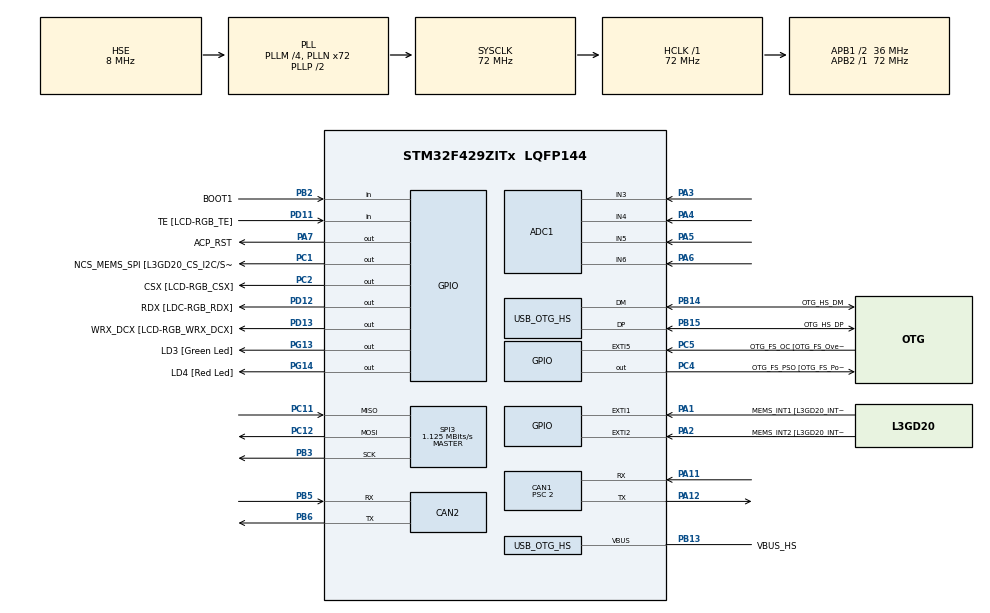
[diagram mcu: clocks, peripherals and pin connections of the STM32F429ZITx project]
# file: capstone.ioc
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ADC1.Channel-0\#ChannelRegularConversion=ADC_CHANNEL_5
ADC1.ClockPrescaler=ADC_CLOCK_SYNC_PCLK_DIV8
ADC1.ContinuousConvMode=ENABLE
ADC1.EOCSelection=ADC_EOC_SEQ_CONV
ADC1.NbrOfConversion=1
ADC1.NbrOfConversionFlag=1
ADC1.Rank-0\#ChannelRegularConversion=1
ADC1.SamplingTime-0\#ChannelRegularConversion=ADC_SAMPLETIME_3CYCLES
ADC1.ScanConvMode=ENABLE
ADC1.master=1
CAN1.BS1=CAN_BS1_13TQ
CAN1.BS2=CAN_BS2_4TQ
CAN1.CalculateTimeQuantum=55.55555555555556
CAN1.Mode=CAN_MODE_NORMAL
CAN1.Prescaler=2
CAN2.BS1=CAN_BS1_13TQ
CAN2.BS2=CAN_BS2_4TQ
CAN2.CalculateTimeQuantum=444.44444444444446
Mcu.Family=STM32F4
Mcu.Name=STM32F429ZITx
Mcu.Package=LQFP144
NVIC.ADC_IRQn=true\:0\:0\:false\:false\:true\:true\:true
NVIC.CAN1_RX0_IRQn=true\:0\:0\:false\:false\:true\:true\:true
NVIC.CAN1_RX1_IRQn=true\:0\:0\:false\:false\:true\:true\:true
NVIC.CAN1_TX_IRQn=true\:0\:0\:false\:false\:true\:true\:true
NVIC.OTG_HS_IRQn=true\:0\:0\:false\:false\:true\:true\:true
NVIC.PriorityGroup=NVIC_PRIORITYGROUP_4
NVIC.TIM6_DAC_IRQn=true\:0\:0\:false\:false\:true\:false\:true
NVIC.TimeBase=TIM6_DAC_IRQn
NVIC.TimeBaseIP=TIM6
PA1.GPIO_Label=MEMS_INT1 [L3GD20_INT1]
PA1.GPIO_ModeDefaultEXTI=GPIO_MODE_EVT_RISING
PA1.GPIO_PuPd=GPIO_NOPULL
PA1.Signal=GPXTI1
PA10.GPIO_Label=STLINK_TX [STM32F103CBT6_PA2]
PA10.Signal=USART1_RX
PA11.Mode=Master
PA11.Signal=CAN1_RX
PA12.Mode=Master
PA12.Signal=CAN1_TX
PA13.GPIO_Label=SWDIO
PA13.Mode=Serial_Wire
PA13.Signal=SYS_JTMS-SWDIO
PA14.GPIO_Label=SWCLK
PA14.Mode=Serial_Wire
PA14.Signal=SYS_JTCK-SWCLK
PA2.GPIO_Label=MEMS_INT2 [L3GD20_INT2]
PA2.GPIO_ModeDefaultEXTI=GPIO_MODE_EVT_RISING
PA2.GPIO_PuPd=GPIO_NOPULL
PA2.Signal=GPXTI2
PA3.Signal=ADCx_IN3
PA4.Signal=ADCx_IN4
PA5.Signal=ADCx_IN5
PA6.Signal=ADCx_IN6
PA7.GPIO_Label=ACP_RST
PA7.GPIO_Mode=GPIO_MODE_OUTPUT_PP
PA7.GPIO_PuPd=GPIO_NOPULL
PA7.GPIO_Speed=GPIO_SPEED_FREQ_LOW
PA7.Signal=GPIO_Output
PA8.Signal=RCC_MCO_1
PA9.GPIO_Label=STLINK_RX [STM32F103CBT6_PA3]
PA9.Signal=USART1_TX
PB0.GPIO_Label=R3
PB0.GPIO_Mode=GPIO_MODE_AF_PP
PB0.GPIO_PuPd=GPIO_NOPULL
PB0.GPIO_Speed=GPIO_SPEED_FREQ_LOW
PB0.Signal=LTDC_R3
PB1.GPIO_Label=R6
PB1.GPIO_Mode=GPIO_MODE_AF_PP
PB1.GPIO_PuPd=GPIO_NOPULL
PB1.GPIO_Speed=GPIO_SPEED_FREQ_LOW
PB1.Signal=LTDC_R6
PB10.GPIO_Label=G4
PB10.GPIO_Mode=GPIO_MODE_AF_PP
PB10.GPIO_PuPd=GPIO_NOPULL
PB10.GPIO_Speed=GPIO_SPEED_FREQ_LOW
PB10.Signal=LTDC_G4
PB11.GPIO_Label=G5
PB11.GPIO_Mode=GPIO_MODE_AF_PP
PB11.GPIO_PuPd=GPIO_NOPULL
PB11.GPIO_Speed=GPIO_SPEED_FREQ_LOW
PB11.Signal=LTDC_G5
PB12.GPIO_Label=OTG_HS_ID
PB12.GPIO_Mode=GPIO_MODE_AF_PP
PB12.GPIO_PuPd=GPIO_NOPULL
PB12.GPIO_Speed=GPIO_SPEED_FREQ_LOW
PB12.Signal=USB_OTG_HS_ID
PB13.GPIO_Label=VBUS_HS
PB13.GPIO_Mode=GPIO_MODE_INPUT
PB13.GPIO_PuPd=GPIO_NOPULL
PB13.Mode=Activate_VBUS_FS
PB13.Signal=USB_OTG_HS_VBUS
PB14.GPIO_Label=OTG_HS_DM
PB14.GPIO_Mode=GPIO_MODE_AF_PP
PB14.GPIO_PuPd=GPIO_NOPULL
PB14.GPIO_Speed=GPIO_SPEED_FREQ_LOW
PB14.Mode=Host_FS
PB14.Signal=USB_OTG_HS_DM
PB15.GPIO_Label=OTG_HS_DP
PB15.GPIO_Mode=GPIO_MODE_AF_PP
PB15.GPIO_PuPd=GPIO_NOPULL
PB15.GPIO_Speed=GPIO_SPEED_FREQ_LOW
PB15.Mode=Host_FS
PB15.Signal=USB_OTG_HS_DP
PB2/BOOT1.GPIO_Label=BOOT1
PB2/BOOT1.GPIO_Mode=GPIO_MODE_INPUT
PB2/BOOT1.GPIO_PuPd=GPIO_NOPULL
PB2/BOOT1.Signal=GPIO_Input
PB3.Mode=Full_Duplex_Master
PB3.Signal=SPI3_SCK
PB5.Mode=Slave
PB5.Signal=CAN2_RX
PB6.Mode=Slave
PB6.Signal=CAN2_TX
PB8.GPIO_Label=B6
PB8.GPIO_Mode=GPIO_MODE_AF_PP
PB8.GPIO_PuPd=GPIO_NOPULL
PB8.GPIO_Speed=GPIO_SPEED_FREQ_LOW
PB8.Signal=LTDC_B6
PB9.GPIO_Label=B7
PB9.GPIO_Mode=GPIO_MODE_AF_PP
PB9.GPIO_PuPd=GPIO_NOPULL
PB9.GPIO_Speed=GPIO_SPEED_FREQ_LOW
PB9.Signal=LTDC_B7
PC0.GPIO_Label=SDNWE
PC0.GPIO_Mode=GPIO_MODE_AF_PP
PC0.GPIO_PuPd=GPIO_NOPULL
PC0.GPIO_Speed=GPIO_SPEED_FREQ_VERY_HIGH
PC0.Signal=FMC_SDNWE
PC1.GPIO_Label=NCS_MEMS_SPI [L3GD20_CS_I2C/SPI]
PC1.GPIO_Mode=GPIO_MODE_OUTPUT_PP
PC1.GPIO_ModeDefaultOutputPP=GPIO_MODE_OUTPUT_PP
PC1.GPIO_PuPd=GPIO_NOPULL
PC1.GPIO_Speed=GPIO_SPEED_FREQ_LOW
PC1.PinState=GPIO_PIN_SET
PC1.Signal=GPIO_Output
PC10.GPIO_Label=R2
PC10.GPIO_Mode=GPIO_MODE_AF_PP
PC10.GPIO_PuPd=GPIO_NOPULL
PC10.GPIO_Speed=GPIO_SPEED_FREQ_LOW
PC10.Signal=LTDC_R2
PC11.Mode=Full_Duplex_Master
PC11.Signal=SPI3_MISO
PC12.Mode=Full_Duplex_Master
PC12.Signal=SPI3_MOSI
PC14/OSC32_IN.GPIO_Label=PC14-OSC32_IN
PC14/OSC32_IN.Signal=RCC_OSC32_IN
PC15/OSC32_OUT.GPIO_Label=PC15-OSC32_OUT
PC15/OSC32_OUT.Signal=RCC_OSC32_OUT
PC2.GPIO_Label=CSX [LCD-RGB_CSX]
PC2.GPIO_Mode=GPIO_MODE_OUTPUT_PP
PC2.GPIO_PuPd=GPIO_NOPULL
PC2.GPIO_Speed=GPIO_SPEED_FREQ_LOW
PC2.Signal=GPIO_Output
PC4.GPIO_Label=OTG_FS_PSO [OTG_FS_PowerSwitchOn]
PC4.GPIO_Mode=GPIO_MODE_OUTPUT_PP
PC4.GPIO_PuPd=GPIO_NOPULL
PC4.GPIO_Speed=GPIO_SPEED_FREQ_LOW
PC4.Signal=GPIO_Output
PC5.GPIO_Label=OTG_FS_OC [OTG_FS_OverCurrent]
PC5.GPIO_ModeDefaultEXTI=GPIO_MODE_EVT_RISING
PC5.Signal=GPXTI5
PC6.GPIO_Label=HSYNC
PC6.GPIO_Mode=GPIO_MODE_AF_PP
PC6.GPIO_PuPd=GPIO_NOPULL
PC6.GPIO_Speed=GPIO_SPEED_FREQ_LOW
PC6.Signal=LTDC_HSYNC
PC7.GPIO_Label=G6
PC7.GPIO_Mode=GPIO_MODE_AF_PP
PC7.GPIO_PuPd=GPIO_NOPULL
PC7.GPIO_Speed=GPIO_SPEED_FREQ_LOW
PC7.Signal=LTDC_G6
PD0.GPIO_Label=D2
PD0.GPIO_Mode=GPIO_MODE_AF_PP
PD0.GPIO_PuPd=GPIO_NOPULL
PD0.GPIO_Speed=GPIO_SPEED_FREQ_VERY_HIGH
PD0.Signal=FMC_D2_DA2
PD1.GPIO_Label=D3
PD1.GPIO_Mode=GPIO_MODE_AF_PP
PD1.GPIO_PuPd=GPIO_NOPULL
PD1.GPIO_Speed=GPIO_SPEED_FREQ_VERY_HIGH
PD1.Signal=FMC_D3_DA3
PD10.GPIO_Label=D15
PD10.GPIO_Mode=GPIO_MODE_AF_PP
PD10.GPIO_PuPd=GPIO_NOPULL
PD10.GPIO_Speed=GPIO_SPEED_FREQ_VERY_HIGH
PD10.Signal=FMC_D15_DA15
PD11.GPIO_Label=TE [LCD-RGB_TE]
PD11.GPIO_Mode=GPIO_MODE_INPUT
PD11.GPIO_PuPd=GPIO_NOPULL
PD11.Signal=GPIO_Input
PD12.GPIO_Label=RDX [LDC-RGB_RDX]
PD12.GPIO_Mode=GPIO_MODE_OUTPUT_PP
PD12.GPIO_PuPd=GPIO_NOPULL
PD12.GPIO_Speed=GPIO_SPEED_FREQ_LOW
PD12.Signal=GPIO_Output
PD13.GPIO_Label=WRX_DCX [LCD-RGB_WRX_DCX]
PD13.GPIO_Mode=GPIO_MODE_OUTPUT_PP
PD13.GPIO_PuPd=GPIO_NOPULL
PD13.GPIO_Speed=GPIO_SPEED_FREQ_LOW
PD13.Signal=GPIO_Output
PD14.GPIO_Label=D0
PD14.GPIO_Mode=GPIO_MODE_AF_PP
PD14.GPIO_PuPd=GPIO_NOPULL
PD14.GPIO_Speed=GPIO_SPEED_FREQ_VERY_HIGH
PD14.Signal=FMC_D0_DA0
PD15.GPIO_Label=D1
PD15.GPIO_Mode=GPIO_MODE_AF_PP
PD15.GPIO_PuPd=GPIO_NOPULL
PD15.GPIO_Speed=GPIO_SPEED_FREQ_VERY_HIGH
PD15.Signal=FMC_D1_DA1
PD3.GPIO_Label=G7
PD3.GPIO_Mode=GPIO_MODE_AF_PP
PD3.GPIO_PuPd=GPIO_NOPULL
PD3.GPIO_Speed=GPIO_SPEED_FREQ_LOW
PD3.Signal=LTDC_G7
PD6.GPIO_Label=B2
PD6.GPIO_Mode=GPIO_MODE_AF_PP
PD6.GPIO_PuPd=GPIO_NOPULL
PD6.GPIO_Speed=GPIO_SPEED_FREQ_LOW
PD6.Signal=LTDC_B2
PD8.GPIO_Label=D13
PD8.GPIO_Mode=GPIO_MODE_AF_PP
PD8.GPIO_PuPd=GPIO_NOPULL
PD8.GPIO_Speed=GPIO_SPEED_FREQ_VERY_HIGH
PD8.Signal=FMC_D13_DA13
PD9.GPIO_Label=D14
PD9.GPIO_Mode=GPIO_MODE_AF_PP
PD9.GPIO_PuPd=GPIO_NOPULL
PD9.GPIO_Speed=GPIO_SPEED_FREQ_VERY_HIGH
PD9.Signal=FMC_D14_DA14
PE0.GPIO_Label=NBL0 [SDRAM_LDQM]
PE0.GPIO_Mode=GPIO_MODE_AF_PP
PE0.GPIO_PuPd=GPIO_NOPULL
PE0.GPIO_Speed=GPIO_SPEED_FREQ_VERY_HIGH
PE0.Signal=FMC_NBL0
PE1.GPIO_Label=NBL1 [SDRAM_UDQM]
PE1.GPIO_Mode=GPIO_MODE_AF_PP
PE1.GPIO_PuPd=GPIO_NOPULL
PE1.GPIO_Speed=GPIO_SPEED_FREQ_VERY_HIGH
PE1.Signal=FMC_NBL1
PE10.GPIO_Label=D7
PE10.GPIO_Mode=GPIO_MODE_AF_PP
PE10.GPIO_PuPd=GPIO_NOPULL
PE10.GPIO_Speed=GPIO_SPEED_FREQ_VERY_HIGH
PE10.Signal=FMC_D7_DA7
PE11.GPIO_Label=D8
PE11.GPIO_Mode=GPIO_MODE_AF_PP
PE11.GPIO_PuPd=GPIO_NOPULL
PE11.GPIO_Speed=GPIO_SPEED_FREQ_VERY_HIGH
PE11.Signal=FMC_D8_DA8
PE12.GPIO_Label=D9
PE12.GPIO_Mode=GPIO_MODE_AF_PP
PE12.GPIO_PuPd=GPIO_NOPULL
PE12.GPIO_Speed=GPIO_SPEED_FREQ_VERY_HIGH
PE12.Signal=FMC_D9_DA9
PE13.GPIO_Label=D10
PE13.GPIO_Mode=GPIO_MODE_AF_PP
PE13.GPIO_PuPd=GPIO_NOPULL
PE13.GPIO_Speed=GPIO_SPEED_FREQ_VERY_HIGH
PE13.Signal=FMC_D10_DA10
PE14.GPIO_Label=D11
PE14.GPIO_Mode=GPIO_MODE_AF_PP
PE14.GPIO_PuPd=GPIO_NOPULL
PE14.GPIO_Speed=GPIO_SPEED_FREQ_VERY_HIGH
PE14.Signal=FMC_D11_DA11
PE15.GPIO_Label=D12
PE15.GPIO_Mode=GPIO_MODE_AF_PP
PE15.GPIO_PuPd=GPIO_NOPULL
PE15.GPIO_Speed=GPIO_SPEED_FREQ_VERY_HIGH
PE15.Signal=FMC_D12_DA12
PE7.GPIO_Label=D4
PE7.GPIO_Mode=GPIO_MODE_AF_PP
PE7.GPIO_PuPd=GPIO_NOPULL
PE7.GPIO_Speed=GPIO_SPEED_FREQ_VERY_HIGH
PE7.Signal=FMC_D4_DA4
PE8.GPIO_Label=D5
PE8.GPIO_Mode=GPIO_MODE_AF_PP
PE8.GPIO_PuPd=GPIO_NOPULL
PE8.GPIO_Speed=GPIO_SPEED_FREQ_VERY_HIGH
PE8.Signal=FMC_D5_DA5
PE9.GPIO_Label=D6
PE9.GPIO_Mode=GPIO_MODE_AF_PP
PE9.GPIO_PuPd=GPIO_NOPULL
PE9.GPIO_Speed=GPIO_SPEED_FREQ_VERY_HIGH
PE9.Signal=FMC_D6_DA6
PF0.GPIO_Label=A0
PF0.GPIO_Mode=GPIO_MODE_AF_PP
PF0.GPIO_PuPd=GPIO_NOPULL
PF0.GPIO_Speed=GPIO_SPEED_FREQ_VERY_HIGH
PF0.Signal=FMC_A0
PF1.GPIO_Label=A1
PF1.GPIO_Mode=GPIO_MODE_AF_PP
PF1.GPIO_PuPd=GPIO_NOPULL
PF1.GPIO_Speed=GPIO_SPEED_FREQ_VERY_HIGH
PF1.Signal=FMC_A1
PF10.GPIO_Label=ENABLE [LCD-RGB_ENABLE]
PF10.GPIO_Mode=GPIO_MODE_AF_PP
PF10.GPIO_PuPd=GPIO_NOPULL
PF10.GPIO_Speed=GPIO_SPEED_FREQ_LOW
PF10.Signal=LTDC_DE
PF11.GPIO_Label=SDNRAS
PF11.GPIO_Mode=GPIO_MODE_AF_PP
PF11.GPIO_PuPd=GPIO_NOPULL
PF11.GPIO_Speed=GPIO_SPEED_FREQ_VERY_HIGH
PF11.Signal=FMC_SDNRAS
PF12.GPIO_Label=A6
PF12.GPIO_Mode=GPIO_MODE_AF_PP
PF12.GPIO_PuPd=GPIO_NOPULL
PF12.GPIO_Speed=GPIO_SPEED_FREQ_VERY_HIGH
PF12.Signal=FMC_A6
PF13.GPIO_Label=A7
PF13.GPIO_Mode=GPIO_MODE_AF_PP
PF13.GPIO_PuPd=GPIO_NOPULL
PF13.GPIO_Speed=GPIO_SPEED_FREQ_VERY_HIGH
PF13.Signal=FMC_A7
PF14.GPIO_Label=A8
PF14.GPIO_Mode=GPIO_MODE_AF_PP
PF14.GPIO_PuPd=GPIO_NOPULL
PF14.GPIO_Speed=GPIO_SPEED_FREQ_VERY_HIGH
PF14.Signal=FMC_A8
PF15.GPIO_Label=A9
PF15.GPIO_Mode=GPIO_MODE_AF_PP
PF15.GPIO_PuPd=GPIO_NOPULL
PF15.GPIO_Speed=GPIO_SPEED_FREQ_VERY_HIGH
PF15.Signal=FMC_A9
PF2.GPIO_Label=A2
PF2.GPIO_Mode=GPIO_MODE_AF_PP
PF2.GPIO_PuPd=GPIO_NOPULL
PF2.GPIO_Speed=GPIO_SPEED_FREQ_VERY_HIGH
PF2.Signal=FMC_A2
PF3.GPIO_Label=A3
PF3.GPIO_Mode=GPIO_MODE_AF_PP
PF3.GPIO_PuPd=GPIO_NOPULL
PF3.GPIO_Speed=GPIO_SPEED_FREQ_VERY_HIGH
PF3.Signal=FMC_A3
PF4.GPIO_Label=A4
PF4.GPIO_Mode=GPIO_MODE_AF_PP
PF4.GPIO_PuPd=GPIO_NOPULL
PF4.GPIO_Speed=GPIO_SPEED_FREQ_VERY_HIGH
PF4.Signal=FMC_A4
PF5.GPIO_Label=A5
PF5.GPIO_Mode=GPIO_MODE_AF_PP
PF5.GPIO_PuPd=GPIO_NOPULL
PF5.GPIO_Speed=GPIO_SPEED_FREQ_VERY_HIGH
PF5.Signal=FMC_A5
PF7.GPIO_Label=SPI5_SCK [L3GD20_SCL/SPC]
PF7.GPIO_Mode=GPIO_MODE_AF_PP
PF7.GPIO_PuPd=GPIO_NOPULL
PF7.GPIO_Speed=GPIO_SPEED_FREQ_LOW
PF7.Signal=SPI5_SCK
PF8.GPIO_Label=SPI5_MISO [L3GD20_SDO]
PF8.GPIO_Mode=GPIO_MODE_AF_PP
PF8.GPIO_PuPd=GPIO_NOPULL
PF8.GPIO_Speed=GPIO_SPEED_FREQ_LOW
PF8.Signal=SPI5_MISO
PF9.GPIO_Label=SPI5_MOSI [L3GD20_SDA/SDI/SDO]
PF9.GPIO_Mode=GPIO_MODE_AF_PP
PF9.GPIO_PuPd=GPIO_NOPULL
PF9.GPIO_Speed=GPIO_SPEED_FREQ_LOW
PF9.Signal=SPI5_MOSI
PG0.GPIO_Label=A10
PG0.GPIO_Mode=GPIO_MODE_AF_PP
PG0.GPIO_PuPd=GPIO_NOPULL
PG0.GPIO_Speed=GPIO_SPEED_FREQ_VERY_HIGH
PG0.Signal=FMC_A10
PG1.GPIO_Label=A11
PG1.GPIO_Mode=GPIO_MODE_AF_PP
PG1.GPIO_PuPd=GPIO_NOPULL
PG1.GPIO_Speed=GPIO_SPEED_FREQ_VERY_HIGH
PG1.Signal=FMC_A11
PG10.GPIO_Label=G3
PG10.GPIO_Mode=GPIO_MODE_AF_PP
PG10.GPIO_PuPd=GPIO_NOPULL
PG10.GPIO_Speed=GPIO_SPEED_FREQ_LOW
PG10.Signal=LTDC_G3
PG11.GPIO_Label=B3
PG11.GPIO_Mode=GPIO_MODE_AF_PP
PG11.GPIO_PuPd=GPIO_NOPULL
PG11.GPIO_Speed=GPIO_SPEED_FREQ_LOW
PG11.Signal=LTDC_B3
PG12.GPIO_Label=B4
PG12.GPIO_Mode=GPIO_MODE_AF_PP
PG12.GPIO_PuPd=GPIO_NOPULL
PG12.GPIO_Speed=GPIO_SPEED_FREQ_LOW
PG12.Signal=LTDC_B4
PG13.GPIO_Label=LD3 [Green Led]
PG13.GPIO_Mode=GPIO_MODE_OUTPUT_PP
PG13.GPIO_PuPd=GPIO_NOPULL
PG13.GPIO_Speed=GPIO_SPEED_FREQ_LOW
PG13.Signal=GPIO_Output
PG14.GPIO_Label=LD4 [Red Led]
PG14.GPIO_Mode=GPIO_MODE_OUTPUT_PP
PG14.GPIO_PuPd=GPIO_NOPULL
PG14.GPIO_Speed=GPIO_SPEED_FREQ_LOW
PG14.Signal=GPIO_Output
PG15.GPIO_Label=SDNCAS
PG15.GPIO_Mode=GPIO_MODE_AF_PP
PG15.GPIO_PuPd=GPIO_NOPULL
PG15.GPIO_Speed=GPIO_SPEED_FREQ_VERY_HIGH
PG15.Signal=FMC_SDNCAS
PG4.GPIO_Label=BA0
PG4.GPIO_Mode=GPIO_MODE_AF_PP
PG4.GPIO_PuPd=GPIO_NOPULL
PG4.GPIO_Speed=GPIO_SPEED_FREQ_VERY_HIGH
PG4.Signal=FMC_A14_BA0
PG5.GPIO_Label=BA1
PG5.GPIO_Mode=GPIO_MODE_AF_PP
PG5.GPIO_PuPd=GPIO_NOPULL
PG5.GPIO_Speed=GPIO_SPEED_FREQ_VERY_HIGH
PG5.Signal=FMC_A15_BA1
PG6.GPIO_Label=R7
PG6.GPIO_Mode=GPIO_MODE_AF_PP
PG6.GPIO_PuPd=GPIO_NOPULL
PG6.GPIO_Speed=GPIO_SPEED_FREQ_LOW
PG6.Signal=LTDC_R7
PG7.GPIO_Label=DOTCLK [LCT-RGB_DOTCLK]
PG7.GPIO_Mode=GPIO_MODE_AF_PP
PG7.GPIO_PuPd=GPIO_NOPULL
PG7.GPIO_Speed=GPIO_SPEED_FREQ_LOW
PG7.Signal=LTDC_CLK
PG8.GPIO_Label=SDCLK
PG8.GPIO_Mode=GPIO_MODE_AF_PP
PG8.GPIO_PuPd=GPIO_NOPULL
PG8.GPIO_Speed=GPIO_SPEED_FREQ_VERY_HIGH
PG8.Signal=FMC_SDCLK
PH0/OSC_IN.GPIO_Label=PH0-OSC_IN
PH0/OSC_IN.Mode=HSE-External-Oscillator
PH0/OSC_IN.Signal=RCC_OSC_IN
PH1/OSC_OUT.GPIO_Label=PH1-OSC_OUT
PH1/OSC_OUT.Mode=HSE-External-Oscillator
PH1/OSC_OUT.Signal=RCC_OSC_OUT
ProjectManager.HeapSize=0x200
ProjectManager.StackSize=0x400
ProjectManager.TargetToolchain=STM32CubeIDE
RCC.48MHZClocksFreq_Value=48000000
RCC.AHBFreq_Value=72000000
RCC.APB1CLKDivider=RCC_HCLK_DIV2
RCC.APB1Freq_Value=36000000
RCC.APB1TimFreq_Value=72000000
RCC.APB2Freq_Value=72000000
RCC.APB2TimFreq_Value=72000000
RCC.CortexFreq_Value=72000000
RCC.HCLKFreq_Value=72000000
RCC.HSE_VALUE=8000000
RCC.HSI_VALUE=16000000
RCC.LSE_VALUE=32768
RCC.PLLM=4
RCC.PLLN=72
RCC.PLLQ=3
RCC.PLLSAIN=50
RCC.SYSCLKFreq_VALUE=72000000
RCC.SYSCLKSource=RCC_SYSCLKSOURCE_PLLCLK
RCC.VCOOutputFreq_Value=144000000
SH.ADCx_IN3.0=ADC1_IN3,IN3
SH.ADCx_IN4.0=ADC1_IN4,IN4
SH.ADCx_IN5.0=ADC1_IN5,IN5
SH.ADCx_IN6.0=ADC1_IN6,IN6
SH.FMC_A0.0=FMC_A0
SH.FMC_A1.0=FMC_A1
SH.FMC_A10.0=FMC_A10
SH.FMC_A11.0=FMC_A11
SH.FMC_A14_BA0.0=FMC_BA0
SH.FMC_A15_BA1.0=FMC_BA1
SH.FMC_A2.0=FMC_A2
SH.FMC_A3.0=FMC_A3
SH.FMC_A4.0=FMC_A4
SH.FMC_A5.0=FMC_A5
SH.FMC_A6.0=FMC_A6
SH.FMC_A7.0=FMC_A7
SH.FMC_A8.0=FMC_A8
SH.FMC_A9.0=FMC_A9
SH.FMC_D0_DA0.0=FMC_D0
SH.FMC_D10_DA10.0=FMC_D10
SH.FMC_D11_DA11.0=FMC_D11
SH.FMC_D12_DA12.0=FMC_D12
SH.FMC_D13_DA13.0=FMC_D13
SH.FMC_D14_DA14.0=FMC_D14
SH.FMC_D15_DA15.0=FMC_D15
SH.FMC_D1_DA1.0=FMC_D1
SH.FMC_D2_DA2.0=FMC_D2
SH.FMC_D3_DA3.0=FMC_D3
SH.FMC_D4_DA4.0=FMC_D4
SH.FMC_D5_DA5.0=FMC_D5
SH.FMC_D6_DA6.0=FMC_D6
SH.FMC_D7_DA7.0=FMC_D7
SH.FMC_D8_DA8.0=FMC_D8
SH.FMC_D9_DA9.0=FMC_D9
SH.FMC_NBL0.0=FMC_NBL0
SH.FMC_NBL1.0=FMC_NBL1
SH.FMC_SDCLK.0=FMC_SDCLK
SH.FMC_SDNCAS.0=FMC_SDNCAS
SH.FMC_SDNRAS.0=FMC_SDNRAS
SH.FMC_SDNWE.0=FMC_SDNWE
SPI3.BaudRatePrescaler=SPI_BAUDRATEPRESCALER_32
SPI3.CLKPhase=SPI_PHASE_1EDGE
SPI3.CalculateBaudRate=1.125 MBits/s
SPI3.DataSize=SPI_DATASIZE_16BIT
SPI3.Direction=SPI_DIRECTION_2LINES
SPI3.Mode=SPI_MODE_MASTER
SPI3.VirtualType=VM_MASTER
USB_HOST.BSP.number=1
USB_HOST.USBH_HandleTypeDef-CDC_HS=hUsbHostHS
USB_HOST.VirtualModeHS=Cdc
USB_HOST0.BSP.STBoard=false
USB_HOST0.BSP.api=UnknownBspDriver
USB_HOST0.BSP.i2caddr=0
USB_HOST0.BSP.i2creg=0
USB_HOST0.BSP.instance=PC4
USB_HOST0.BSP.ip=GPIO
USB_HOST0.BSP.mode=Output
USB_HOST0.BSP.name=Drive_VBUS_HS
USB_HOST0.BSP.solution=PC4
USB_OTG_HS.VirtualMode-Host_FS=Host_FS
VP_SYS_VS_tim6.Mode=TIM6
VP_TIM1_VS_ClockSourceINT.Mode=Internal
VP_USB_HOST_VS_USB_HOST_CDC_HS.Mode=CDC_HS
board=STM32F429I-DISC1

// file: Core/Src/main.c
/* USER CODE BEGIN Header */
/**
  ******************************************************************************
  * @file           : main.c
  * @brief          : Main program body
  ******************************************************************************
  * @attention
  *
  * <h2><center>&copy; Copyright (c) 2020 STMicroelectronics.
  * All rights reserved.</center></h2>
  *
  * This software component is licensed by ST under Ultimate Liberty license
  * SLA0044, the "License"; You may not use this file except in compliance with
  * the License. You may obtain a copy of the License at:
  *                             www.st.com/SLA0044
  *
  ******************************************************************************
  */
/* USER CODE END Header */

#include "main.h"
#include "usb_host.h"

/* USER CODE BEGIN Includes */
#include <stdio.h>
#include <stdlib.h>
#include <string.h>
#include <math.h>
/* USER CODE END Includes */

/* USER CODE BEGIN PD */
#define ADC_RESOLUTION 4096
/* USER CODE END PD */

ADC_HandleTypeDef hadc1;

CAN_HandleTypeDef hcan1;
CAN_HandleTypeDef hcan2;

SPI_HandleTypeDef hspi3;

TIM_HandleTypeDef htim1;

/* USER CODE BEGIN PV */
uint8_t aTxBuffer[2];
/* USER CODE END PV */

void SystemClock_Config(void);
static void MX_GPIO_Init(void);
static void MX_TIM1_Init(void);
static void MX_ADC1_Init(void);
static void MX_CAN1_Init(void);
static void MX_CAN2_Init(void);
static void MX_SPI3_Init(void);
void MX_USB_HOST_Process(void);

/* USER CODE BEGIN PFP */
void LED_Thresholding(int adcValue);
uint16_t GetADC_Value(uint16_t);
/* USER CODE END PFP */

/* USER CODE BEGIN 0 */
//CAN_MSR_TX CAN_drive;
//CAN_HandleTypeDef     hcan1;
CAN_TxHeaderTypeDef   TxHeader;
CAN_RxHeaderTypeDef   RxHeader;
uint8_t               TxData[8];
uint8_t               RxData[8];
uint32_t              TxMailbox;

ADC_ChannelConfTypeDef sConfig = {0};
/* USER CODE END 0 */

int main(void)
{

  /* MCU Configuration--------------------------------------------------------*/

  /* Reset of all peripherals, Initializes the Flash interface and the Systick. */
  HAL_Init();

  /* Configure the system clock */
  SystemClock_Config();

  /* Initialize all configured peripherals */
  MX_GPIO_Init();
  MX_TIM1_Init();
  MX_USB_HOST_Init();
  MX_ADC1_Init();
  MX_CAN1_Init();
  MX_CAN2_Init();
  MX_SPI3_Init();
  /* USER CODE BEGIN 2 */
  //CAN_MSR_RX CAN_rx_msg;

	//CAN motor command setup
	//CAN_drive.len = 2;
  //CAN_drive.id = 0x100;
  uint16_t data;
  char lower_bits, upper_bits;
  HAL_StatusTypeDef halstatus;
  /* USER CODE END 2 */

  /* Infinite loop */
  /* USER CODE BEGIN WHILE */
  //uint8_t data[2] = "hi";
  //int len = strlen(data);
  //int pinValue = 0;
  HAL_ADC_Start(&hadc1);

  //HAL_GPIO_WritePin(GPIOC, GPIO_PIN_2, GPIO_PIN_SET);
   //HAL_Delay(2000);

  while (1)
  {
	  /* Try to use ADC */
	  //while(HAL_ADC_GetFlagStatus(&hadc1,ADC_FLAG_EOC))
	  //if (HAL_ADC_GetFlagStatus(&hadc1,ADC_FLAG_EOC)) pinValue = HAL_ADC_GetValue(&hadc1); // Check if ADC is done conversion by flag and if it is then save to a variable
	  /*if (HAL_ADC_PollForConversion(&hadc1, HAL_MAX_DELAY) == HAL_OK){ // Poll the ADC to see if it is ready
		  data = HAL_ADC_GetValue(&hadc1); // Save ADC value to a variable
		  //LED_Thresholding(pinValue);
		  //HAL_ADC_Stop(&hadc1);
		  HAL_ADC_Start(&hadc1);
	  }*/
	  //data = GetADC_Value(5);
	  //for(int i=3;i<7;i++){
	  for(int i=0; i<4; i++){
		  // Using channels 3,4,5,6
		  data = GetADC_Value(i+3);
	      //micData[i-3]=adcRead(i);
		  // 2 Bytes of data = id and reading for a mic
		  // idda tada
		  // data & 0xFF00 -> 0x0#00
		  // 0x0#00 >> 8 -> 0x000#
		  // i << 6 -> (for i = 1) -> 01 << 4 = 01000000 = 0x0010
		  TxData[2*i] = (char)(((data & 0xFF00) >> 8) | (i << 4)); // MSB
		  TxData[2*i+1] = data & 0x00FF; // LSB
	      //micData[i-3] = micData[i-3] & (i-3)<<14;
	  }
	  // CAN Stuff
	  //data = 0x0FFF;
	  //upper_bits = (char)((data & 0xFF00) >> 8);
	  //lower_bits = data & 0x00FF;
	  //CAN_drive.data[0] = upper_bits;
	  //CAN_drive.data[1] = lower_bits;

	  //aTxBuffer[0] = 0xF;
	  //TxData[0] = upper_bits;
	  //TxData[1] = lower_bits;
      halstatus = HAL_CAN_AddTxMessage(&hcan1, &TxHeader, TxData, &TxMailbox);
      //HAL_CAN_GetTxMailboxesFreeLevel(&hcan1);
      if (halstatus != HAL_OK)
      {
    	  printf("error");
        Error_Handler();
      }
      while(!HAL_CAN_GetTxMailboxesFreeLevel(&hcan1)){
    	 HAL_Delay(500);
      }
	  /*halstatus = HAL_SPI_Transmit(&hspi3, (uint8_t*)aTxBuffer, 2, 5000);
	  while(halstatus != HAL_OK){
		  Error_Handler_2();
      }
      HAL_Delay(1000);
printf("hi");*/
    /* USER CODE END WHILE */
    MX_USB_HOST_Process();

    /* USER CODE BEGIN 3 */
	  HAL_Delay(1); // Read every 1 milliseconds
  }
  /* USER CODE END 3 */
}

void SystemClock_Config(void)
{
  RCC_OscInitTypeDef RCC_OscInitStruct = {0};
  RCC_ClkInitTypeDef RCC_ClkInitStruct = {0};

  /** Configure the main internal regulator output voltage
  */
  __HAL_RCC_PWR_CLK_ENABLE();
  __HAL_PWR_VOLTAGESCALING_CONFIG(PWR_REGULATOR_VOLTAGE_SCALE3);
  /** Initializes the CPU, AHB and APB busses clocks
  */
  RCC_OscInitStruct.OscillatorType = RCC_OSCILLATORTYPE_HSE;
  RCC_OscInitStruct.HSEState = RCC_HSE_ON;
  RCC_OscInitStruct.PLL.PLLState = RCC_PLL_ON;
  RCC_OscInitStruct.PLL.PLLSource = RCC_PLLSOURCE_HSE;
  RCC_OscInitStruct.PLL.PLLM = 4;
  RCC_OscInitStruct.PLL.PLLN = 72;
  RCC_OscInitStruct.PLL.PLLP = RCC_PLLP_DIV2;
  RCC_OscInitStruct.PLL.PLLQ = 3;
  if (HAL_RCC_OscConfig(&RCC_OscInitStruct) != HAL_OK)
  {
    Error_Handler();
  }
  /** Initializes the CPU, AHB and APB busses clocks
  */
  RCC_ClkInitStruct.ClockType = RCC_CLOCKTYPE_HCLK|RCC_CLOCKTYPE_SYSCLK
                              |RCC_CLOCKTYPE_PCLK1|RCC_CLOCKTYPE_PCLK2;
  RCC_ClkInitStruct.SYSCLKSource = RCC_SYSCLKSOURCE_PLLCLK;
  RCC_ClkInitStruct.AHBCLKDivider = RCC_SYSCLK_DIV1;
  RCC_ClkInitStruct.APB1CLKDivider = RCC_HCLK_DIV2;
  RCC_ClkInitStruct.APB2CLKDivider = RCC_HCLK_DIV1;

  if (HAL_RCC_ClockConfig(&RCC_ClkInitStruct, FLASH_LATENCY_2) != HAL_OK)
  {
    Error_Handler();
  }
}

static void MX_ADC1_Init(void)
{

  //ADC_ChannelConfTypeDef sConfig = {0};

  /** Configure the global features of the ADC (Clock, Resolution, Data Alignment and number of conversion)
  */
  hadc1.Instance = ADC1;
  hadc1.Init.ClockPrescaler = ADC_CLOCK_SYNC_PCLK_DIV8;
  hadc1.Init.Resolution = ADC_RESOLUTION_12B;
  hadc1.Init.ScanConvMode = ENABLE;
  hadc1.Init.ContinuousConvMode = ENABLE;
  hadc1.Init.DiscontinuousConvMode = DISABLE;
  hadc1.Init.ExternalTrigConvEdge = ADC_EXTERNALTRIGCONVEDGE_NONE;
  hadc1.Init.ExternalTrigConv = ADC_SOFTWARE_START;
  hadc1.Init.DataAlign = ADC_DATAALIGN_RIGHT;
  hadc1.Init.NbrOfConversion = 1;
  hadc1.Init.DMAContinuousRequests = DISABLE;
  hadc1.Init.EOCSelection = ADC_EOC_SEQ_CONV;
  if (HAL_ADC_Init(&hadc1) != HAL_OK)
  {
    Error_Handler();
  }
  /** Configure for the selected ADC regular channel its corresponding rank in the sequencer and its sample time.
  */
  sConfig.Channel = ADC_CHANNEL_5;
  sConfig.Rank = 1;
  sConfig.SamplingTime = ADC_SAMPLETIME_3CYCLES;
  if (HAL_ADC_ConfigChannel(&hadc1, &sConfig) != HAL_OK)
  {
    Error_Handler();
  }

}

static void MX_CAN1_Init(void)
{

  /* USER CODE BEGIN CAN1_Init 0 */

	  CAN_FilterTypeDef  sFilterConfig;
  /* USER CODE END CAN1_Init 0 */

  hcan1.Instance = CAN1;
  hcan1.Init.Prescaler = 2;
  hcan1.Init.Mode = CAN_MODE_NORMAL;
  hcan1.Init.SyncJumpWidth = CAN_SJW_1TQ;
  hcan1.Init.TimeSeg1 = CAN_BS1_13TQ;
  hcan1.Init.TimeSeg2 = CAN_BS2_4TQ;
  hcan1.Init.TimeTriggeredMode = DISABLE;
  hcan1.Init.AutoBusOff = DISABLE;
  hcan1.Init.AutoWakeUp = DISABLE;
  hcan1.Init.AutoRetransmission = DISABLE;
  hcan1.Init.ReceiveFifoLocked = DISABLE;
  hcan1.Init.TransmitFifoPriority = DISABLE;
  if (HAL_CAN_Init(&hcan1) != HAL_OK)
  {
    Error_Handler();
  }
  /* USER CODE BEGIN CAN1_Init 2 */

  /*##-2- Configure the CAN Filter ###########################################*/
  sFilterConfig.FilterBank = 0;
  sFilterConfig.FilterMode = CAN_FILTERMODE_IDMASK;
  sFilterConfig.FilterScale = CAN_FILTERSCALE_32BIT;
  sFilterConfig.FilterIdHigh = 0x0000;
  sFilterConfig.FilterIdLow = 0x0000;
  sFilterConfig.FilterMaskIdHigh = 0x0000;
  sFilterConfig.FilterMaskIdLow = 0x0000;
  sFilterConfig.FilterFIFOAssignment = CAN_RX_FIFO0;
  sFilterConfig.FilterActivation = ENABLE;
  sFilterConfig.SlaveStartFilterBank = 14;

  if (HAL_CAN_ConfigFilter(&hcan1, &sFilterConfig) != HAL_OK)
  {
    /* Filter configuration Error */
    Error_Handler();
  }

  /*##-3- Start the CAN peripheral ###########################################*/
  if (HAL_CAN_Start(&hcan1) != HAL_OK)
  {
    /* Start Error */
    Error_Handler();
  }

  /*##-4- Activate CAN RX notification #######################################*/
  if (HAL_CAN_ActivateNotification(&hcan1, CAN_IT_RX_FIFO0_MSG_PENDING) != HAL_OK)
  {
    /* Notification Error */
    Error_Handler();
  }

  /*##-5- Configure Transmission process #####################################*/
  TxHeader.StdId = 0x321;
  TxHeader.ExtId = 0x00;
  TxHeader.RTR = CAN_RTR_DATA;
  TxHeader.IDE = CAN_ID_STD;
  //TxHeader.DLC = 2; // For sending just one mic
  TxHeader.DLC = 8; // For sending 4 mics
  TxHeader.TransmitGlobalTime = DISABLE;
  /* USER CODE END CAN1_Init 2 */

}

static void MX_CAN2_Init(void)
{

  hcan2.Instance = CAN2;
  hcan2.Init.Prescaler = 16;
  hcan2.Init.Mode = CAN_MODE_NORMAL;
  hcan2.Init.SyncJumpWidth = CAN_SJW_1TQ;
  hcan2.Init.TimeSeg1 = CAN_BS1_13TQ;
  hcan2.Init.TimeSeg2 = CAN_BS2_4TQ;
  hcan2.Init.TimeTriggeredMode = DISABLE;
  hcan2.Init.AutoBusOff = DISABLE;
  hcan2.Init.AutoWakeUp = DISABLE;
  hcan2.Init.AutoRetransmission = DISABLE;
  hcan2.Init.ReceiveFifoLocked = DISABLE;
  hcan2.Init.TransmitFifoPriority = DISABLE;
  if (HAL_CAN_Init(&hcan2) != HAL_OK)
  {
    Error_Handler();
  }

}

static void MX_SPI3_Init(void)
{

  /* SPI3 parameter configuration*/
  hspi3.Instance = SPI3;
  hspi3.Init.Mode = SPI_MODE_MASTER;
  hspi3.Init.Direction = SPI_DIRECTION_2LINES;
  hspi3.Init.DataSize = SPI_DATASIZE_16BIT;
  hspi3.Init.CLKPolarity = SPI_POLARITY_LOW;
  hspi3.Init.CLKPhase = SPI_PHASE_1EDGE;
  hspi3.Init.NSS = SPI_NSS_SOFT;
  hspi3.Init.BaudRatePrescaler = SPI_BAUDRATEPRESCALER_32;
  hspi3.Init.FirstBit = SPI_FIRSTBIT_MSB;
  hspi3.Init.TIMode = SPI_TIMODE_DISABLE;
  hspi3.Init.CRCCalculation = SPI_CRCCALCULATION_DISABLE;
  hspi3.Init.CRCPolynomial = 10;
  if (HAL_SPI_Init(&hspi3) != HAL_OK)
  {
    Error_Handler();
  }

}

static void MX_TIM1_Init(void)
{

  TIM_ClockConfigTypeDef sClockSourceConfig = {0};
  TIM_MasterConfigTypeDef sMasterConfig = {0};

  htim1.Instance = TIM1;
  htim1.Init.Prescaler = 0;
  htim1.Init.CounterMode = TIM_COUNTERMODE_UP;
  htim1.Init.Period = 0;
  htim1.Init.ClockDivision = TIM_CLOCKDIVISION_DIV1;
  htim1.Init.RepetitionCounter = 0;
  htim1.Init.AutoReloadPreload = TIM_AUTORELOAD_PRELOAD_DISABLE;
  if (HAL_TIM_Base_Init(&htim1) != HAL_OK)
  {
    Error_Handler();
  }
  sClockSourceConfig.ClockSource = TIM_CLOCKSOURCE_INTERNAL;
  if (HAL_TIM_ConfigClockSource(&htim1, &sClockSourceConfig) != HAL_OK)
  {
    Error_Handler();
  }
  sMasterConfig.MasterOutputTrigger = TIM_TRGO_RESET;
  sMasterConfig.MasterSlaveMode = TIM_MASTERSLAVEMODE_DISABLE;
  if (HAL_TIMEx_MasterConfigSynchronization(&htim1, &sMasterConfig) != HAL_OK)
  {
    Error_Handler();
  }

}

static void MX_GPIO_Init(void)
{
  GPIO_InitTypeDef GPIO_InitStruct = {0};

  /* GPIO Ports Clock Enable */
  __HAL_RCC_GPIOC_CLK_ENABLE();
  __HAL_RCC_GPIOF_CLK_ENABLE();
  __HAL_RCC_GPIOH_CLK_ENABLE();
  __HAL_RCC_GPIOA_CLK_ENABLE();
  __HAL_RCC_GPIOB_CLK_ENABLE();
  __HAL_RCC_GPIOG_CLK_ENABLE();
  __HAL_RCC_GPIOE_CLK_ENABLE();
  __HAL_RCC_GPIOD_CLK_ENABLE();

  /*Configure GPIO pin Output Level */
  HAL_GPIO_WritePin(NCS_MEMS_SPI_GPIO_Port, NCS_MEMS_SPI_Pin, GPIO_PIN_SET);

  /*Configure GPIO pin Output Level */
  HAL_GPIO_WritePin(GPIOC, CSX_Pin|OTG_FS_PSO_Pin, GPIO_PIN_RESET);

  /*Configure GPIO pin Output Level */
  HAL_GPIO_WritePin(ACP_RST_GPIO_Port, ACP_RST_Pin, GPIO_PIN_RESET);

  /*Configure GPIO pin Output Level */
  HAL_GPIO_WritePin(GPIOD, RDX_Pin|WRX_DCX_Pin, GPIO_PIN_RESET);

  /*Configure GPIO pin Output Level */
  HAL_GPIO_WritePin(GPIOG, LD3_Pin|LD4_Pin, GPIO_PIN_RESET);

  /*Configure GPIO pins : A0_Pin A1_Pin A2_Pin A3_Pin
                           A4_Pin A5_Pin SDNRAS_Pin A6_Pin
                           A7_Pin A8_Pin A9_Pin */
  GPIO_InitStruct.Pin = A0_Pin|A1_Pin|A2_Pin|A3_Pin
                          |A4_Pin|A5_Pin|SDNRAS_Pin|A6_Pin
                          |A7_Pin|A8_Pin|A9_Pin;
  GPIO_InitStruct.Mode = GPIO_MODE_AF_PP;
  GPIO_InitStruct.Pull = GPIO_NOPULL;
  GPIO_InitStruct.Speed = GPIO_SPEED_FREQ_VERY_HIGH;
  GPIO_InitStruct.Alternate = GPIO_AF12_FMC;
  HAL_GPIO_Init(GPIOF, &GPIO_InitStruct);

  /*Configure GPIO pins : SPI5_SCK_Pin SPI5_MISO_Pin SPI5_MOSI_Pin */
  GPIO_InitStruct.Pin = SPI5_SCK_Pin|SPI5_MISO_Pin|SPI5_MOSI_Pin;
  GPIO_InitStruct.Mode = GPIO_MODE_AF_PP;
  GPIO_InitStruct.Pull = GPIO_NOPULL;
  GPIO_InitStruct.Speed = GPIO_SPEED_FREQ_LOW;
  GPIO_InitStruct.Alternate = GPIO_AF5_SPI5;
  HAL_GPIO_Init(GPIOF, &GPIO_InitStruct);

  /*Configure GPIO pin : ENABLE_Pin */
  GPIO_InitStruct.Pin = ENABLE_Pin;
  GPIO_InitStruct.Mode = GPIO_MODE_AF_PP;
  GPIO_InitStruct.Pull = GPIO_NOPULL;
  GPIO_InitStruct.Speed = GPIO_SPEED_FREQ_LOW;
  GPIO_InitStruct.Alternate = GPIO_AF14_LTDC;
  HAL_GPIO_Init(ENABLE_GPIO_Port, &GPIO_InitStruct);

  /*Configure GPIO pin : SDNWE_Pin */
  GPIO_InitStruct.Pin = SDNWE_Pin;
  GPIO_InitStruct.Mode = GPIO_MODE_AF_PP;
  GPIO_InitStruct.Pull = GPIO_NOPULL;
  GPIO_InitStruct.Speed = GPIO_SPEED_FREQ_VERY_HIGH;
  GPIO_InitStruct.Alternate = GPIO_AF12_FMC;
  HAL_GPIO_Init(SDNWE_GPIO_Port, &GPIO_InitStruct);

  /*Configure GPIO pins : NCS_MEMS_SPI_Pin CSX_Pin OTG_FS_PSO_Pin */
  GPIO_InitStruct.Pin = NCS_MEMS_SPI_Pin|CSX_Pin|OTG_FS_PSO_Pin;
  GPIO_InitStruct.Mode = GPIO_MODE_OUTPUT_PP;
  GPIO_InitStruct.Pull = GPIO_NOPULL;
  GPIO_InitStruct.Speed = GPIO_SPEED_FREQ_LOW;
  HAL_GPIO_Init(GPIOC, &GPIO_InitStruct);

  /*Configure GPIO pins : MEMS_INT1_Pin MEMS_INT2_Pin */
  GPIO_InitStruct.Pin = MEMS_INT1_Pin|MEMS_INT2_Pin;
  GPIO_InitStruct.Mode = GPIO_MODE_EVT_RISING;
  GPIO_InitStruct.Pull = GPIO_NOPULL;
  HAL_GPIO_Init(GPIOA, &GPIO_InitStruct);

  /*Configure GPIO pin : ACP_RST_Pin */
  GPIO_InitStruct.Pin = ACP_RST_Pin;
  GPIO_InitStruct.Mode = GPIO_MODE_OUTPUT_PP;
  GPIO_InitStruct.Pull = GPIO_NOPULL;
  GPIO_InitStruct.Speed = GPIO_SPEED_FREQ_LOW;
  HAL_GPIO_Init(ACP_RST_GPIO_Port, &GPIO_InitStruct);

  /*Configure GPIO pin : OTG_FS_OC_Pin */
  GPIO_InitStruct.Pin = OTG_FS_OC_Pin;
  GPIO_InitStruct.Mode = GPIO_MODE_EVT_RISING;
  GPIO_InitStruct.Pull = GPIO_NOPULL;
  HAL_GPIO_Init(OTG_FS_OC_GPIO_Port, &GPIO_InitStruct);

  /*Configure GPIO pins : R3_Pin R6_Pin */
  GPIO_InitStruct.Pin = R3_Pin|R6_Pin;
  GPIO_InitStruct.Mode = GPIO_MODE_AF_PP;
  GPIO_InitStruct.Pull = GPIO_NOPULL;
  GPIO_InitStruct.Speed = GPIO_SPEED_FREQ_LOW;
  GPIO_InitStruct.Alternate = GPIO_AF9_LTDC;
  HAL_GPIO_Init(GPIOB, &GPIO_InitStruct);

  /*Configure GPIO pin : BOOT1_Pin */
  GPIO_InitStruct.Pin = BOOT1_Pin;
  GPIO_InitStruct.Mode = GPIO_MODE_INPUT;
  GPIO_InitStruct.Pull = GPIO_NOPULL;
  HAL_GPIO_Init(BOOT1_GPIO_Port, &GPIO_InitStruct);

  /*Configure GPIO pins : A10_Pin A11_Pin BA0_Pin BA1_Pin
                           SDCLK_Pin SDNCAS_Pin */
  GPIO_InitStruct.Pin = A10_Pin|A11_Pin|BA0_Pin|BA1_Pin
                          |SDCLK_Pin|SDNCAS_Pin;
  GPIO_InitStruct.Mode = GPIO_MODE_AF_PP;
  GPIO_InitStruct.Pull = GPIO_NOPULL;
  GPIO_InitStruct.Speed = GPIO_SPEED_FREQ_VERY_HIGH;
  GPIO_InitStruct.Alternate = GPIO_AF12_FMC;
  HAL_GPIO_Init(GPIOG, &GPIO_InitStruct);

  /*Configure GPIO pins : D4_Pin D5_Pin D6_Pin D7_Pin
                           D8_Pin D9_Pin D10_Pin D11_Pin
                           D12_Pin NBL0_Pin NBL1_Pin */
  GPIO_InitStruct.Pin = D4_Pin|D5_Pin|D6_Pin|D7_Pin
                          |D8_Pin|D9_Pin|D10_Pin|D11_Pin
                          |D12_Pin|NBL0_Pin|NBL1_Pin;
  GPIO_InitStruct.Mode = GPIO_MODE_AF_PP;
  GPIO_InitStruct.Pull = GPIO_NOPULL;
  GPIO_InitStruct.Speed = GPIO_SPEED_FREQ_VERY_HIGH;
  GPIO_InitStruct.Alternate = GPIO_AF12_FMC;
  HAL_GPIO_Init(GPIOE, &GPIO_InitStruct);

  /*Configure GPIO pins : G4_Pin G5_Pin B6_Pin B7_Pin */
  GPIO_InitStruct.Pin = G4_Pin|G5_Pin|B6_Pin|B7_Pin;
  GPIO_InitStruct.Mode = GPIO_MODE_AF_PP;
  GPIO_InitStruct.Pull = GPIO_NOPULL;
  GPIO_InitStruct.Speed = GPIO_SPEED_FREQ_LOW;
  GPIO_InitStruct.Alternate = GPIO_AF14_LTDC;
  HAL_GPIO_Init(GPIOB, &GPIO_InitStruct);

  /*Configure GPIO pins : D13_Pin D14_Pin D15_Pin D0_Pin
                           D1_Pin D2_Pin D3_Pin */
  GPIO_InitStruct.Pin = D13_Pin|D14_Pin|D15_Pin|D0_Pin
                          |D1_Pin|D2_Pin|D3_Pin;
  GPIO_InitStruct.Mode = GPIO_MODE_AF_PP;
  GPIO_InitStruct.Pull = GPIO_NOPULL;
  GPIO_InitStruct.Speed = GPIO_SPEED_FREQ_VERY_HIGH;
  GPIO_InitStruct.Alternate = GPIO_AF12_FMC;
  HAL_GPIO_Init(GPIOD, &GPIO_InitStruct);

  /*Configure GPIO pin : TE_Pin */
  GPIO_InitStruct.Pin = TE_Pin;
  GPIO_InitStruct.Mode = GPIO_MODE_INPUT;
  GPIO_InitStruct.Pull = GPIO_NOPULL;
  HAL_GPIO_Init(TE_GPIO_Port, &GPIO_InitStruct);

  /*Configure GPIO pins : RDX_Pin WRX_DCX_Pin */
  GPIO_InitStruct.Pin = RDX_Pin|WRX_DCX_Pin;
  GPIO_InitStruct.Mode = GPIO_MODE_OUTPUT_PP;
  GPIO_InitStruct.Pull = GPIO_NOPULL;
  GPIO_InitStruct.Speed = GPIO_SPEED_FREQ_LOW;
  HAL_GPIO_Init(GPIOD, &GPIO_InitStruct);

  /*Configure GPIO pins : R7_Pin DOTCLK_Pin B3_Pin */
  GPIO_InitStruct.Pin = R7_Pin|DOTCLK_Pin|B3_Pin;
  GPIO_InitStruct.Mode = GPIO_MODE_AF_PP;
  GPIO_InitStruct.Pull = GPIO_NOPULL;
  GPIO_InitStruct.Speed = GPIO_SPEED_FREQ_LOW;
  GPIO_InitStruct.Alternate = GPIO_AF14_LTDC;
  HAL_GPIO_Init(GPIOG, &GPIO_InitStruct);

  /*Configure GPIO pins : HSYNC_Pin G6_Pin R2_Pin */
  GPIO_InitStruct.Pin = HSYNC_Pin|G6_Pin|R2_Pin;
  GPIO_InitStruct.Mode = GPIO_MODE_AF_PP;
  GPIO_InitStruct.Pull = GPIO_NOPULL;
  GPIO_InitStruct.Speed = GPIO_SPEED_FREQ_LOW;
  GPIO_InitStruct.Alternate = GPIO_AF14_LTDC;
  HAL_GPIO_Init(GPIOC, &GPIO_InitStruct);

  /*Configure GPIO pin : PA8 */
  GPIO_InitStruct.Pin = GPIO_PIN_8;
  GPIO_InitStruct.Mode = GPIO_MODE_AF_PP;
  GPIO_InitStruct.Pull = GPIO_NOPULL;
  GPIO_InitStruct.Speed = GPIO_SPEED_FREQ_LOW;
  GPIO_InitStruct.Alternate = GPIO_AF0_MCO;
  HAL_GPIO_Init(GPIOA, &GPIO_InitStruct);

  /*Configure GPIO pins : STLINK_RX_Pin STLINK_TX_Pin */
  GPIO_InitStruct.Pin = STLINK_RX_Pin|STLINK_TX_Pin;
  GPIO_InitStruct.Mode = GPIO_MODE_AF_PP;
  GPIO_InitStruct.Pull = GPIO_NOPULL;
  GPIO_InitStruct.Speed = GPIO_SPEED_FREQ_VERY_HIGH;
  GPIO_InitStruct.Alternate = GPIO_AF7_USART1;
  HAL_GPIO_Init(GPIOA, &GPIO_InitStruct);

  /*Configure GPIO pins : G7_Pin B2_Pin */
  GPIO_InitStruct.Pin = G7_Pin|B2_Pin;
  GPIO_InitStruct.Mode = GPIO_MODE_AF_PP;
  GPIO_InitStruct.Pull = GPIO_NOPULL;
  GPIO_InitStruct.Speed = GPIO_SPEED_FREQ_LOW;
  GPIO_InitStruct.Alternate = GPIO_AF14_LTDC;
  HAL_GPIO_Init(GPIOD, &GPIO_InitStruct);

  /*Configure GPIO pins : G3_Pin B4_Pin */
  GPIO_InitStruct.Pin = G3_Pin|B4_Pin;
  GPIO_InitStruct.Mode = GPIO_MODE_AF_PP;
  GPIO_InitStruct.Pull = GPIO_NOPULL;
  GPIO_InitStruct.Speed = GPIO_SPEED_FREQ_LOW;
  GPIO_InitStruct.Alternate = GPIO_AF9_LTDC;
  HAL_GPIO_Init(GPIOG, &GPIO_InitStruct);

  /*Configure GPIO pins : LD3_Pin LD4_Pin */
  GPIO_InitStruct.Pin = LD3_Pin|LD4_Pin;
  GPIO_InitStruct.Mode = GPIO_MODE_OUTPUT_PP;
  GPIO_InitStruct.Pull = GPIO_NOPULL;
  GPIO_InitStruct.Speed = GPIO_SPEED_FREQ_LOW;
  HAL_GPIO_Init(GPIOG, &GPIO_InitStruct);

}

/* USER CODE BEGIN 4 */
uint16_t GetADC_Value(uint16_t channel){
	uint16_t value = 0;
	sConfig.Channel = channel;
	sConfig.Rank = 1;
	sConfig.SamplingTime = ADC_SAMPLETIME_3CYCLES; //or any other value available.

	//add to channel select
	if(HAL_ADC_ConfigChannel(&hadc1, &sConfig) != HAL_OK){
		Error_Handler();
	}

	HAL_ADC_Start(&hadc1);

	if (HAL_ADC_PollForConversion(&hadc1, 10) == HAL_OK){
		value = HAL_ADC_GetValue(&hadc1);
	} else {
		Error_Handler();
	}
	//remove from channel select
	sConfig.Rank = 16;

	if (HAL_ADC_ConfigChannel(&hadc1, &sConfig) != HAL_OK){
		Error_Handler();
	}

	return value;
}

void LED_Thresholding(int adcValue){
	/*if (adcValue > floor(ADC_RESOLUTION/2)){
		HAL_GPIO_WritePin(GPIOC, GPIO_PIN_1);
	} else if (adcValue > floor(ADC_RESOLUTION/6)){
		HAL_GPIO_WritePin(GPIOC, GPIO_PIN_2);
	} else if (adcValue > floor(ADC_RESOLUTION/10)){
		HAL_GPIO_WritePin(GPIOG, GPIO_PIN_13);
	} else {
		HAL_GPIO_WritePin(GPIOG, GPIO_PIN_14);
	}*/
	if (adcValue > 2000){
		// C4 comes on
		HAL_GPIO_WritePin(GPIOC, GPIO_PIN_2, GPIO_PIN_SET);
		HAL_GPIO_WritePin(GPIOC, GPIO_PIN_4, GPIO_PIN_RESET);
		HAL_GPIO_WritePin(GPIOG, GPIO_PIN_13, GPIO_PIN_RESET);
		HAL_GPIO_WritePin(GPIOG, GPIO_PIN_14, GPIO_PIN_RESET);
	} else if (adcValue > 1000){
		// C2 comes on
		HAL_GPIO_WritePin(GPIOC, GPIO_PIN_2, GPIO_PIN_RESET);
		HAL_GPIO_WritePin(GPIOC, GPIO_PIN_4, GPIO_PIN_SET);
		HAL_GPIO_WritePin(GPIOG, GPIO_PIN_13, GPIO_PIN_RESET);
		HAL_GPIO_WritePin(GPIOG, GPIO_PIN_14, GPIO_PIN_RESET);
	} else if (adcValue > 500){
		// G13/LD3 comes on
		HAL_GPIO_WritePin(GPIOC, GPIO_PIN_2, GPIO_PIN_RESET);
		HAL_GPIO_WritePin(GPIOC, GPIO_PIN_4, GPIO_PIN_RESET);
		HAL_GPIO_WritePin(GPIOG, GPIO_PIN_13, GPIO_PIN_SET);
		HAL_GPIO_WritePin(GPIOG, GPIO_PIN_14, GPIO_PIN_RESET);
	} else {
		// G14/LD4 comes on
		HAL_GPIO_WritePin(GPIOC, GPIO_PIN_2, GPIO_PIN_RESET);
		HAL_GPIO_WritePin(GPIOC, GPIO_PIN_4, GPIO_PIN_RESET);
		HAL_GPIO_WritePin(GPIOG, GPIO_PIN_13, GPIO_PIN_RESET);
		HAL_GPIO_WritePin(GPIOG, GPIO_PIN_14, GPIO_PIN_SET);
	}
}

/**
  * @brief  Rx Fifo 0 message pending callback
  * @param  hcan: pointer to a CAN_HandleTypeDef structure that contains
  *         the configuration information for the specified CAN.
  * @retval None
  */
void HAL_CAN_RxFifo0MsgPendingCallback(CAN_HandleTypeDef *hcan)
{
  /* Get RX message */
  if (HAL_CAN_GetRxMessage(hcan, CAN_RX_FIFO0, &RxHeader, RxData) != HAL_OK)
  {
    /* Reception Error */
    Error_Handler();
  }
}
/* USER CODE END 4 */

void HAL_TIM_PeriodElapsedCallback(TIM_HandleTypeDef *htim)
{
  if (htim->Instance == TIM6) {
    HAL_IncTick();
  }
}

void Error_Handler(void)
{
  /* USER CODE BEGIN Error_Handler_Debug */
  /* User can add his own implementation to report the HAL error return state */

	 HAL_Delay(500);
  /* USER CODE END Error_Handler_Debug */
}

/************************ (C) COPYRIGHT STMicroelectronics *****END OF FILE****/
